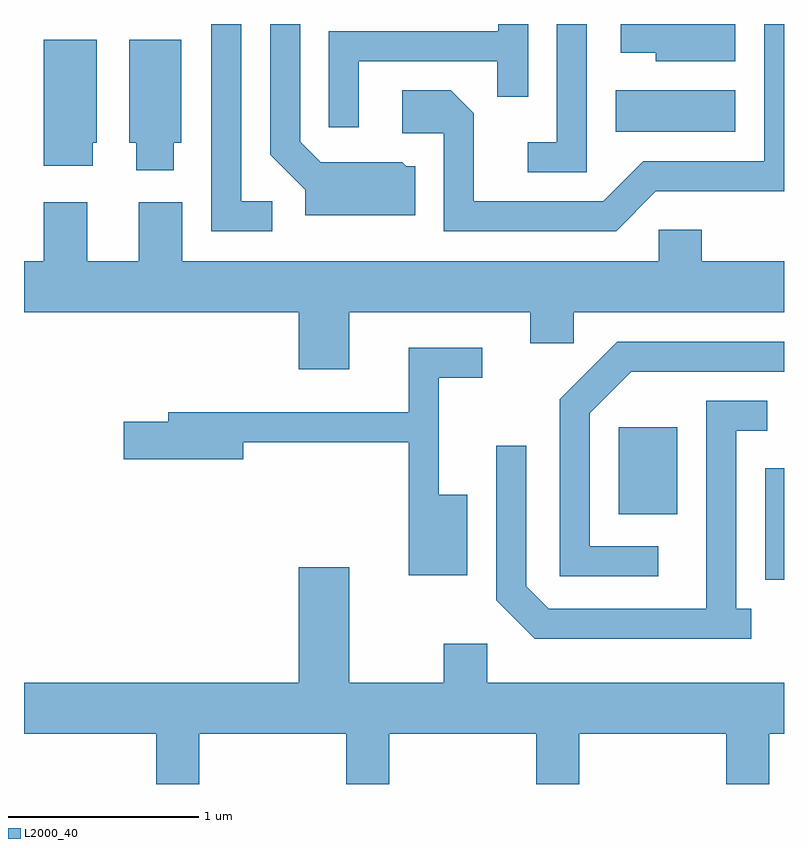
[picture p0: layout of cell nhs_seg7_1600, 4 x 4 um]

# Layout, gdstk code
import gdstk
lib = gdstk.Library(unit=1e-6, precision=1e-09)
def R(c, l, rs):  # rectangles x0, y0, x1, y1
    for r in rs: c.add(gdstk.rectangle(r[:2], r[2:], *l))
def P(c, l, *ps):  # polygons
    for p in ps: c.add(gdstk.Polygon(p, *l))
L2000_40 = (2000, 40)

nhs_seg7_1600 = lib.new_cell('nhs_seg7_1600')
R(nhs_seg7_1600, L2000_40, [(237.511,1737.326,237.611,1737.913), (236.741,1737.671,237.049,1738.129), (236.726,1739.686,237.354,1739.904)])
P(nhs_seg7_1600, L2000_40, [(236.937,1739.371),(237.611,1739.371),(237.611,1740.252),(237.506,1740.252),(237.506,1739.529),(236.869,1739.529),(236.659,1739.319),(235.979,1739.319),(235.979,1739.782),(235.857,1739.904),(235.601,1739.904),(235.601,1739.676),(235.821,1739.676),(235.821,1739.161),(236.727,1739.161)],
  [(235.669,1739.504),(235.622,1739.504),(235.602,1739.524),(235.172,1739.524),(235.064,1739.632),(235.064,1740.252),(234.906,1740.252),(234.906,1739.564),(235.091,1739.379),(235.091,1739.246),(235.669,1739.246)],
  [(234.918,1739.319),(234.754,1739.319),(234.754,1740.252),(234.596,1740.252),(234.596,1739.161),(234.918,1739.161)],
  [(237.354,1740.252),(236.751,1740.252),(236.751,1740.101),(236.936,1740.101),(236.936,1740.056),(237.354,1740.056)],
  [(235.374,1740.056),(236.101,1740.056),(236.101,1739.868),(236.264,1739.868),(236.264,1740.252),(236.106,1740.252),(236.106,1740.214),(235.216,1740.214),(235.216,1739.708),(235.374,1739.708)],
  [(236.574,1740.252),(236.416,1740.252),(236.416,1739.629),(236.263,1739.629),(236.263,1739.471),(236.574,1739.471)],
  [(234.399,1739.626),(234.439,1739.626),(234.439,1740.169),(234.166,1740.169),(234.166,1739.626),(234.201,1739.626),(234.201,1739.481),(234.399,1739.481)],
  [(233.974,1739.626),(233.994,1739.626),(233.994,1740.169),(233.716,1740.169),(233.716,1739.506),(233.974,1739.506)],
  [(235.324,1738.736),(236.276,1738.736),(236.276,1738.571),(236.504,1738.571),(236.504,1738.736),(237.611,1738.736),(237.611,1739.004),(237.179,1739.004),(237.179,1739.169),(236.951,1739.169),(236.951,1739.004),(234.444,1739.004),(234.444,1739.314),(234.216,1739.314),(234.216,1739.004),(233.944,1739.004),(233.944,1739.314),(233.716,1739.314),(233.716,1739.004),(233.611,1739.004),(233.611,1738.736),(235.056,1738.736),(235.056,1738.436),(235.324,1738.436)],
  [(236.948,1737.504),(236.589,1737.504),(236.589,1738.204),(236.807,1738.421),(237.611,1738.421),(237.611,1738.579),(236.734,1738.579),(236.431,1738.277),(236.431,1737.346),(236.948,1737.346)],
  [(235.944,1737.774),(235.794,1737.774),(235.794,1738.391),(236.023,1738.391),(236.023,1738.549),(235.636,1738.549),(235.636,1738.209),(234.371,1738.209),(234.371,1738.159),(234.136,1738.159),(234.136,1737.961),(234.764,1737.961),(234.764,1738.051),(235.636,1738.051),(235.636,1737.351),(235.944,1737.351)],
  [(237.438,1737.174),(237.359,1737.174),(237.359,1738.111),(237.523,1738.111),(237.523,1738.269),(237.201,1738.269),(237.201,1737.174),(236.372,1737.174),(236.254,1737.292),(236.254,1738.033),(236.096,1738.033),(236.096,1737.219),(236.299,1737.016),(237.438,1737.016)],
  [(234.534,1736.516),(235.306,1736.516),(235.306,1736.252),(235.534,1736.252),(235.534,1736.516),(236.306,1736.516),(236.306,1736.252),(236.534,1736.252),(236.534,1736.516),(237.306,1736.516),(237.306,1736.252),(237.534,1736.252),(237.534,1736.516),(237.611,1736.516),(237.611,1736.784),(236.049,1736.784),(236.049,1736.989),(235.821,1736.989),(235.821,1736.784),(235.324,1736.784),(235.324,1737.394),(235.056,1737.394),(235.056,1736.784),(233.611,1736.784),(233.611,1736.516),(234.306,1736.516),(234.306,1736.252),(234.534,1736.252)])

lib.write_gds('nhs_seg7_1600.gds')
